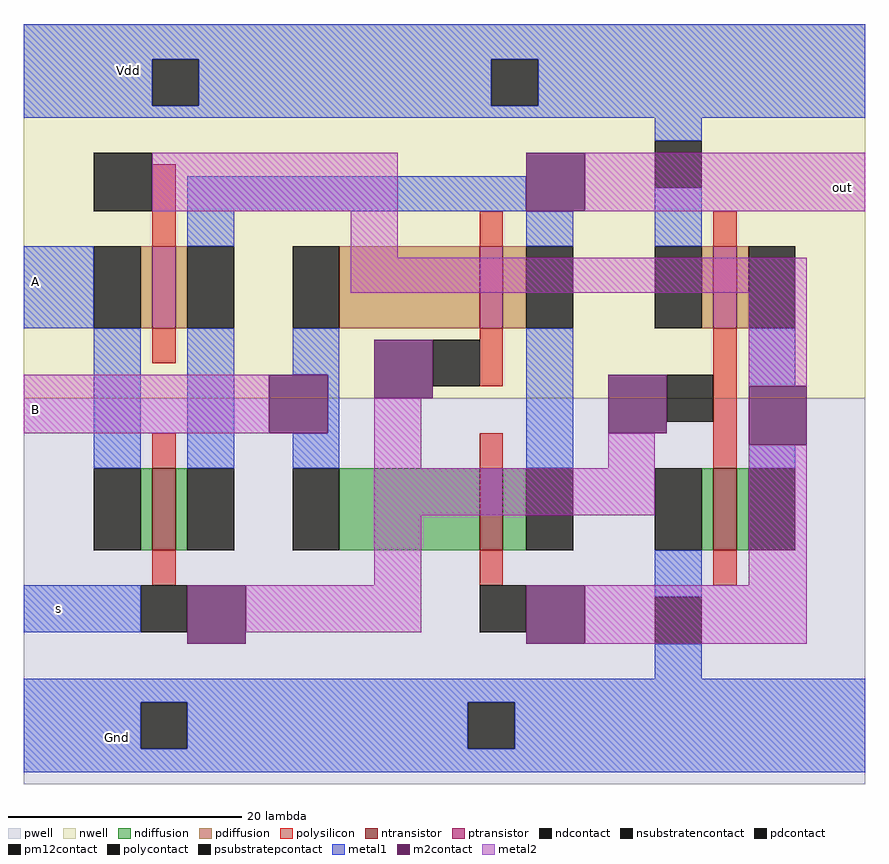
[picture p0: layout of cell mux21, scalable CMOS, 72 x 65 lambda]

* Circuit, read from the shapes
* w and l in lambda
.subckt mux21 A B Gnd Vdd out s
M1 out s A Gnd nfet w=7 l=2
M2 out n1 B Gnd nfet w=7 l=2
M3 n1 s Gnd Gnd nfet w=7 l=2
M4 out n1 A Vdd pfet w=7 l=2
M5 out s B Vdd pfet w=7 l=2
M6 n1 s Vdd Vdd pfet w=7 l=2
.ends

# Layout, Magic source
magic
tech scmos
<< nwell >>
rect -41 15 31 47
<< pwell >>
rect -41 -18 31 15
<< ntransistor >>
rect -30 2 -28 9
rect -2 2 0 9
rect 18 2 20 9
<< ptransistor >>
rect -30 21 -28 28
rect -2 21 0 28
rect 18 21 20 28
<< ndiffusion >>
rect -31 2 -30 9
rect -28 2 -27 9
rect -14 2 -2 9
rect 0 2 2 9
rect 17 2 18 9
rect 20 2 21 9
<< pdiffusion >>
rect -31 21 -30 28
rect -28 21 -27 28
rect -14 21 -2 28
rect 0 21 2 28
rect 17 21 18 28
rect 20 21 21 28
<< ndcontact >>
rect -35 2 -31 9
rect -27 2 -23 9
rect -18 2 -14 9
rect 2 2 6 9
rect 13 2 17 9
rect 21 2 25 9
<< pdcontact >>
rect -35 21 -31 28
rect -27 21 -23 28
rect -18 21 -14 28
rect 2 21 6 28
rect 13 21 17 28
rect 21 21 25 28
<< psubstratepcontact >>
rect 13 -6 17 -2
rect -31 -15 -27 -11
rect -3 -15 1 -11
<< nsubstratencontact >>
rect -30 40 -26 44
rect -1 40 3 44
rect 13 33 17 37
<< polysilicon >>
rect -30 28 -28 35
rect -2 28 0 31
rect 18 28 20 31
rect -30 18 -28 21
rect -2 16 0 21
rect -30 9 -28 12
rect -2 9 0 12
rect 18 9 20 21
rect -30 -1 -28 2
rect -2 -1 0 2
rect 18 -1 20 2
<< polycontact >>
rect -6 16 -2 20
rect 14 13 18 17
rect -31 -5 -27 -1
rect -2 -5 2 -1
<< metal1 >>
rect -41 44 31 47
rect -41 40 -30 44
rect -26 40 -1 44
rect 3 40 31 44
rect -41 39 31 40
rect 13 37 17 39
rect -27 31 2 34
rect -27 28 -23 31
rect 2 28 6 31
rect -41 21 -35 28
rect -35 9 -31 21
rect -27 9 -23 21
rect -18 17 -14 21
rect 13 28 17 33
rect -15 12 -14 17
rect -18 9 -14 12
rect 2 9 6 21
rect 21 16 25 21
rect 21 9 25 11
rect -41 -5 -31 -1
rect 13 -2 17 2
rect 13 -9 17 -6
rect -41 -11 31 -9
rect -41 -15 -31 -11
rect -27 -15 -3 -11
rect 1 -15 31 -11
rect -41 -17 31 -15
<< m2contact >>
rect 2 31 7 36
rect -20 12 -15 17
rect -11 15 -6 20
rect 9 12 14 17
rect 21 11 26 16
rect -27 -6 -22 -1
rect 2 -6 7 -1
<< pm12contact >>
rect -35 31 -30 36
<< metal2 >>
rect -30 31 -9 36
rect 7 31 31 36
rect -13 27 -9 31
rect -13 24 26 27
rect -41 12 -20 17
rect -11 9 -7 15
rect 21 16 26 24
rect 9 9 13 12
rect -11 5 13 9
rect -11 -1 -7 5
rect 21 -1 26 11
rect -22 -5 -7 -1
rect 7 -6 26 -1
<< labels >>
rlabel metal1 -32 43 -32 43 5 Vdd
rlabel metal1 -33 -14 -33 -14 1 Gnd
rlabel metal2 29 33 29 33 7 out
rlabel metal1 -40 25 -40 25 3 A
rlabel metal2 -40 14 -40 14 3 B
rlabel metal1 -38 -3 -38 -3 3 s
<< end >>
